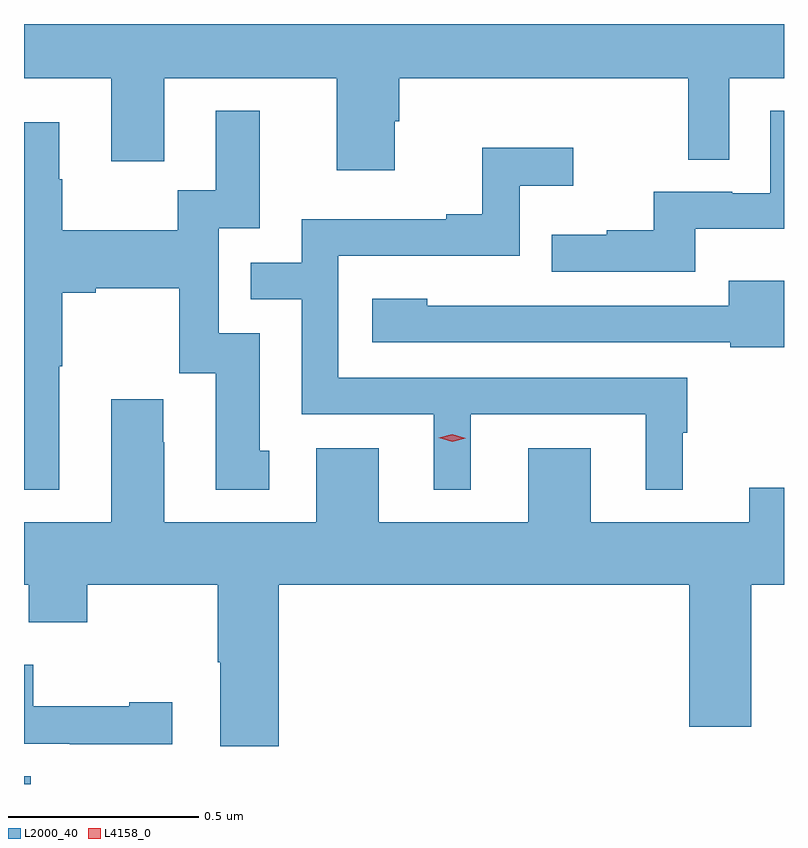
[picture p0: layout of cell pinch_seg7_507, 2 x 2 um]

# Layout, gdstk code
import gdstk
lib = gdstk.Library(unit=1e-6, precision=1e-09)
def R(c, l, rs):  # rectangles x0, y0, x1, y1
    for r in rs: c.add(gdstk.rectangle(r[:2], r[2:], *l))
def P(c, l, *ps):  # polygons
    for p in ps: c.add(gdstk.Polygon(p, *l))
L2000_40 = (2000, 40)
L4158_0 = (4158, 0)

pinch_seg7_507 = lib.new_cell('pinch_seg7_507')
R(pinch_seg7_507, L2000_40, [(223.198,1078.679,223.216,1078.699)])
P(pinch_seg7_507, L2000_40, [(224.173,1080.423),(224.186,1080.423),(224.186,1080.536),(224.946,1080.536),(224.946,1080.322),(225.054,1080.322),(225.054,1080.536),(225.198,1080.536),(225.198,1080.679),(223.198,1080.679),(223.198,1080.536),(223.427,1080.536),(223.427,1080.318),(223.567,1080.318),(223.567,1080.536),(224.021,1080.536),(224.021,1080.294),(224.173,1080.294)],
  [(223.291,1079.779),(223.299,1079.779),(223.299,1079.972),(223.387,1079.972),(223.387,1079.984),(223.607,1079.984),(223.607,1079.76),(223.703,1079.76),(223.703,1079.454),(223.843,1079.454),(223.843,1079.556),(223.819,1079.556),(223.819,1079.865),(223.71,1079.865),(223.71,1080.141),(223.819,1080.141),(223.819,1080.451),(223.703,1080.451),(223.703,1080.242),(223.602,1080.242),(223.602,1080.136),(223.299,1080.136),(223.299,1080.27),(223.291,1080.27),(223.291,1080.421),(223.198,1080.421),(223.198,1079.453),(223.291,1079.453)],
  [(224.965,1080.14),(225.198,1080.14),(225.198,1080.451),(225.162,1080.451),(225.162,1080.234),(225.062,1080.234),(225.062,1080.237),(224.855,1080.237),(224.855,1080.136),(224.731,1080.136),(224.731,1080.124),(224.587,1080.124),(224.587,1080.027),(224.965,1080.027)],
  [(224.374,1079.652),(224.834,1079.652),(224.834,1079.453),(224.932,1079.453),(224.932,1079.604),(224.944,1079.604),(224.944,1079.748),(224.025,1079.748),(224.025,1080.069),(224.502,1080.069),(224.502,1080.254),(224.644,1080.254),(224.644,1080.353),(224.404,1080.353),(224.404,1080.178),(224.309,1080.178),(224.309,1080.165),(223.929,1080.165),(223.929,1080.051),(223.795,1080.051),(223.795,1079.955),(223.929,1079.955),(223.929,1079.652),(224.276,1079.652),(224.276,1079.453),(224.374,1079.453)],
  [(225.198,1080.004),(225.053,1080.004),(225.053,1079.937),(224.495,1079.937),(224.495,1079.938),(224.259,1079.938),(224.259,1079.956),(224.115,1079.956),(224.115,1079.841),(225.057,1079.841),(225.057,1079.829),(225.198,1079.829)],
  [(223.868,1079.204),(224.948,1079.204),(224.948,1078.83),(225.112,1078.83),(225.112,1079.204),(225.198,1079.204),(225.198,1079.459),(225.107,1079.459),(225.107,1079.368),(224.689,1079.368),(224.689,1079.563),(224.525,1079.563),(224.525,1079.368),(224.131,1079.368),(224.131,1079.563),(223.967,1079.563),(223.967,1079.368),(223.567,1079.368),(223.567,1079.579),(223.564,1079.579),(223.564,1079.692),(223.427,1079.692),(223.427,1079.368),(223.198,1079.368),(223.198,1079.204),(223.21,1079.204),(223.21,1079.105),(223.365,1079.105),(223.365,1079.204),(223.708,1079.204),(223.708,1079),(223.715,1079),(223.715,1078.779),(223.868,1078.779)],
  [(223.588,1078.894),(223.475,1078.894),(223.475,1078.884),(223.222,1078.884),(223.222,1078.993),(223.198,1078.993),(223.198,1078.785),(223.318,1078.785),(223.318,1078.784),(223.588,1078.784)])
P(pinch_seg7_507, L4158_0, [(224.325,1079.58),(224.289,1079.59),(224.289,1079.59),(224.289,1079.59),(224.325,1079.6),(224.361,1079.589),(224.361,1079.589),(224.361,1079.589)])

lib.write_gds('pinch_seg7_507.gds')
